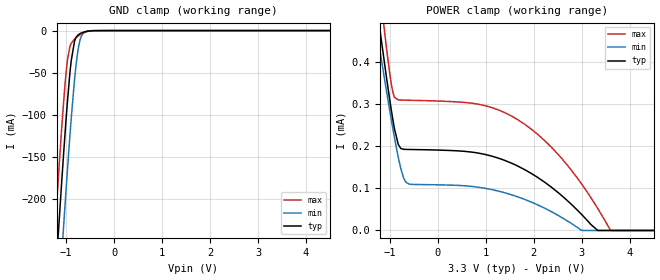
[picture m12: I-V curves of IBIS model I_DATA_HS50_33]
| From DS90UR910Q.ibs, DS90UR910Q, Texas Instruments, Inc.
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|   Model
[Model]   I_DATA_HS50_33
Model_type   Input
Vinl = 0.8
Vinh = 2.2
|   typ   min   max
C_comp   0.422pF   0.408pF   0.450pF
[Voltage Range]   3.3   3   3.6
[Temperature Range]   25   105   -40
[Power Clamp Reference]   3.3   3   3.6
[GND Clamp Reference]   0   0   -0
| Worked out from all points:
|   GND clamp passes 1 mA (typ) near -0.58 V on its own axis
[GND Clamp]
|   Voltage   I(typ)   I(min)   I(max)
-3.3V     -2.295A    -2.37A     -2.24A
-1.261V   -330.1mA   -419.4mA   -263.4mA
-1.221V   -294mA     -383.1mA   -227.4mA
-1.162V   -240.6mA   -329.3mA   -174.6mA
-1.073V   -163.3mA   -250.3mA   -100.4mA
-1.033V   -130.7mA   -216.2mA   -70.98mA
-973.5mV  -85.12mA   -166.6mA   -35.87mA
-894.3mV  -36.07mA   -105.1mA   -15.23mA
-825mV    -12.73mA   -58.63mA   -10.09mA
-775.5mV  -6.693mA   -32.67mA   -7.62mA
-676.5mV  -2.759mA   -6.043mA   -3.841mA
6.59V     0A         0A         0A
[POWER Clamp]
|   Voltage   I(typ)   I(min)   I(max)
-3.3V     2.37mA     2.012mA    2.904mA
-1.251V   514.6uA    459.5uA    615.8uA
-1.082V   373.5uA    339.8uA    445uA
-933.9mV  260.8uA    239.6uA    327.1uA
-825mV    204.6uA    173.9uA    310.3uA
-607.2mV  192.6uA    110.6uA    309.6uA
838.2mV   184.1uA    102.9uA    300.3uA
1.67V     152.9uA    79.79uA    263.1uA
2.64V     77.1uA     26.92uA    163.4uA
3.333V    0A         0A         52.24uA
3.61V     0A         0A         0A
6.59V     0A         0A         0A
